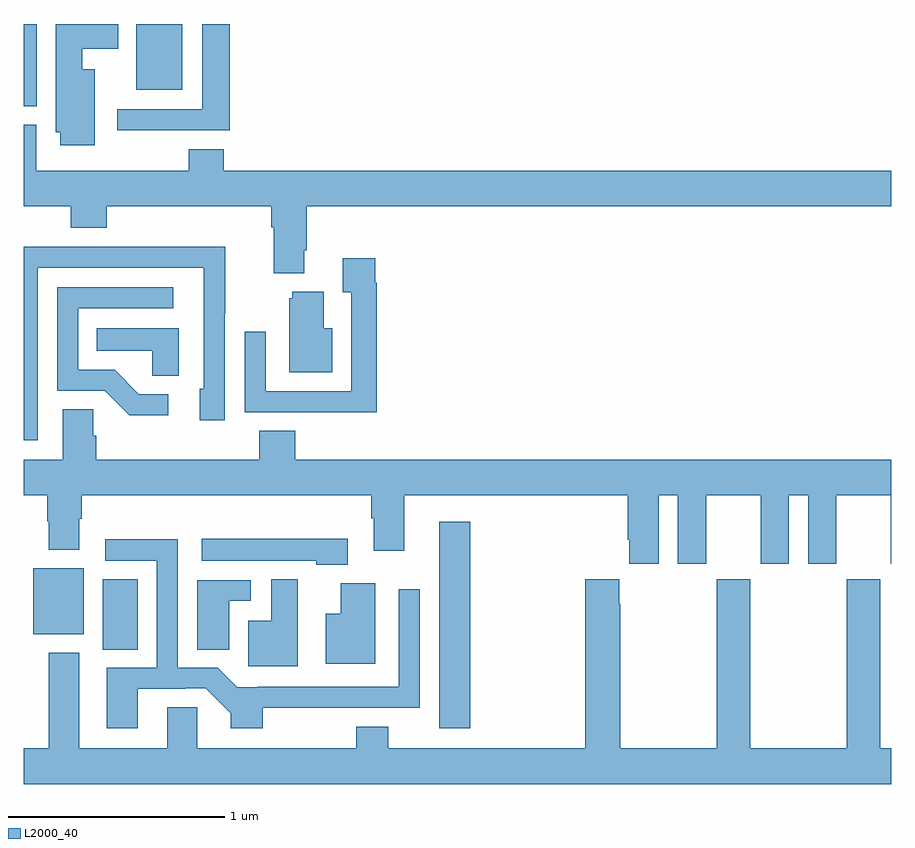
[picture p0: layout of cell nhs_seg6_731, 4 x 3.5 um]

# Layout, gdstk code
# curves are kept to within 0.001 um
import gdstk
lib = gdstk.Library(unit=1e-6, precision=1e-09)
def R(c, l, rs):  # rectangles x0, y0, x1, y1
    for r in rs: c.add(gdstk.rectangle(r[:2], r[2:], *l))
def P(c, l, *ps):  # polygons
    for p in ps: c.add(gdstk.Polygon(p, *l))
L2000_40 = (2000, 40)

nhs_seg6_731 = lib.new_cell('nhs_seg6_731')
R(nhs_seg6_731, L2000_40, [(158.915,954.252,159.059,955.204), (157.364,954.616,157.525,954.941), (157.043,954.686,157.276,954.991), (157,957.121,157.06,957.5), (157.52,957.197,157.732,957.5)])
P(nhs_seg6_731, L2000_40, [(157.949,957.5),(157.823,957.5),(157.823,957.108),(157.431,957.108),(157.431,957.011),(157.949,957.011)],
  [(157.327,957.292),(157.27,957.292),(157.27,957.386),(157.435,957.386),(157.435,957.5),(157.148,957.5),(157.148,957),(157.169,957),(157.169,956.94),(157.327,956.94)],
  [(158.293,956.458),(158.306,956.458),(158.306,956.66),(161,956.66),(161,956.824),(157.922,956.824),(157.922,956.923),(157.762,956.923),(157.762,956.824),(157.057,956.824),(157.057,957.036),(157,957.036),(157,956.66),(157.217,956.66),(157.217,956.561),(157.382,956.561),(157.382,956.66),(158.141,956.66),(158.141,956.564),(158.153,956.564),(158.153,956.351),(158.293,956.351)],
  [(157.065,956.376),(157.83,956.376),(157.83,955.818),(157.811,955.818),(157.811,955.674),(157.926,955.674),(157.926,956.167),(157.929,956.167),(157.929,956.474),(157.465,956.474),(157.465,956.472),(157,956.472),(157,955.581),(157.065,955.581)],
  [(158.627,956.306),(158.62,956.306),(158.62,956.419),(158.471,956.419),(158.471,956.263),(158.511,956.263),(158.511,955.806),(158.115,955.806),(158.115,956.08),(158.019,956.08),(158.019,955.71),(158.335,955.71),(158.335,955.709),(158.627,955.709)],
  [(157.666,955.794),(157.531,955.794),(157.42,955.905),(157.251,955.905),(157.251,956.19),(157.69,956.19),(157.69,956.286),(157.155,956.286),(157.155,955.809),(157.374,955.809),(157.487,955.697),(157.666,955.697)],
  [(158.422,956.098),(158.383,956.098),(158.383,956.266),(158.237,956.266),(158.237,956.235),(158.225,956.235),(158.225,955.895),(158.422,955.895)],
  [(157.714,956.098),(157.336,956.098),(157.336,955.994),(157.593,955.994),(157.593,955.879),(157.714,955.879)],
  [(157.181,955.492),(157,955.492),(157,955.328),(157.108,955.328),(157.108,955.208),(157.115,955.208),(157.115,955.076),(157.255,955.076),(157.255,955.219),(157.268,955.219),(157.268,955.328),(158.603,955.328),(158.603,955.222),(158.615,955.222),(158.615,955.071),(158.755,955.071),(158.755,955.328),(159.785,955.328),(159.785,955.123),(159.791,955.123),(159.791,955.011),(159.928,955.011),(159.928,955.328),(160.016,955.328),(160.016,955.011),(160.147,955.011),(160.147,955.328),(160.397,955.328),(160.397,955.011),(160.528,955.011),(160.528,955.328),(160.616,955.328),(160.616,955.011),(160.747,955.011),(160.747,955.328),(160.997,955.328),(160.997,955.011),(161,955.011),(161,955.492),(158.252,955.492),(158.252,955.625),(158.087,955.625),(158.087,955.492),(157.334,955.492),(157.334,955.601),(157.32,955.601),(157.32,955.724),(157.181,955.724)],
  [(158.494,955.126),(157.821,955.126),(157.821,955.025),(158.349,955.025),(158.349,955.007),(158.494,955.007)],
  [(157.525,954.435),(157.745,954.435),(157.745,954.438),(157.839,954.438),(157.955,954.322),(157.955,954.254),(158.103,954.254),(158.103,954.347),(158.826,954.348),(158.826,954.895),(158.73,954.895),(158.73,954.444),(158.08,954.444),(158.08,954.441),(157.984,954.441),(157.894,954.531),(157.71,954.531),(157.71,955.124),(157.377,955.124),(157.377,955.026),(157.614,955.026),(157.614,954.531),(157.382,954.531),(157.382,954.252),(157.525,954.252)],
  [(161,954.16),(160.95,954.16),(160.95,954.94),(160.795,954.94),(160.795,954.16),(160.35,954.16),(160.35,954.94),(160.195,954.94),(160.195,954.16),(159.75,954.16),(159.75,954.827),(159.745,954.827),(159.745,954.94),(159.59,954.94),(159.59,954.16),(158.68,954.16),(158.68,954.259),(158.533,954.259),(158.533,954.16),(157.8,954.16),(157.8,954.35),(157.661,954.35),(157.661,954.16),(157.255,954.16),(157.255,954.601),(157.115,954.601),(157.115,954.16),(157,954.16),(157,953.996),(161,953.996)],
  [(158.263,954.94),(158.141,954.94),(158.141,954.748),(158.036,954.748),(158.036,954.539),(158.263,954.539)],
  [(157.948,954.84),(158.047,954.84),(158.047,954.936),(157.799,954.936),(157.799,954.616),(157.948,954.616)],
  [(158.62,954.922),(158.462,954.922),(158.462,954.781),(158.393,954.781),(158.393,954.551),(158.62,954.551)])

lib.write_gds('nhs_seg6_731.gds')
